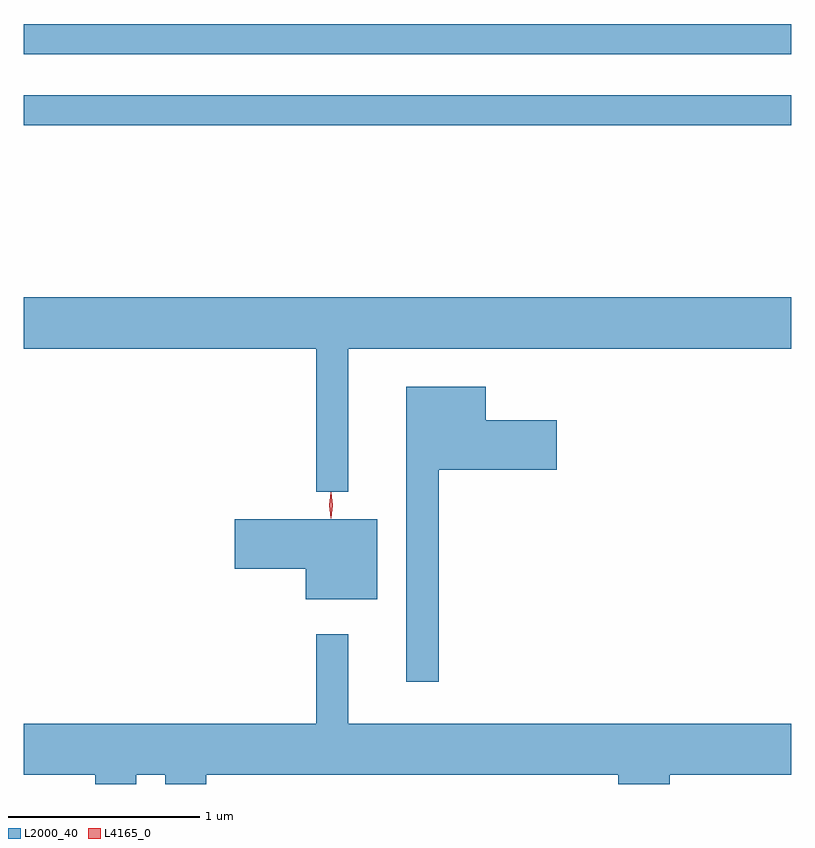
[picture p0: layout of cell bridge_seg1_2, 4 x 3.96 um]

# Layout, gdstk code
import gdstk
lib = gdstk.Library(unit=1e-6, precision=1e-09)
def R(c, l, rs):  # rectangles x0, y0, x1, y1
    for r in rs: c.add(gdstk.rectangle(r[:2], r[2:], *l))
def P(c, l, *ps):  # polygons
    for p in ps: c.add(gdstk.Polygon(p, *l))
L2000_40 = (2000, 40)
L4165_0 = (4165, 0)

bridge_seg1_2 = lib.new_cell('bridge_seg1_2')
R(bridge_seg1_2, L2000_40, [(1629.077,849.681,1633.077,849.839), (1629.077,850.051,1633.077,850.209)])
P(bridge_seg1_2, L2000_40, [(1630.769,848.516),(1633.077,848.516),(1633.077,848.784),(1629.077,848.784),(1629.077,848.516),(1630.601,848.516),(1630.601,847.773),(1630.769,847.773)],
  [(1631.239,847.886),(1631.854,847.886),(1631.854,848.144),(1631.484,848.144),(1631.484,848.319),(1631.071,848.319),(1631.071,846.783),(1631.239,846.783)],
  [(1630.919,847.629),(1630.176,847.629),(1630.176,847.371),(1630.546,847.371),(1630.546,847.211),(1630.919,847.211)],
  [(1629.664,846.296),(1629.816,846.296),(1629.816,846.249),(1630.029,846.249),(1630.029,846.296),(1632.176,846.296),(1632.176,846.249),(1632.444,846.249),(1632.444,846.296),(1633.077,846.296),(1633.077,846.564),(1630.769,846.564),(1630.769,847.028),(1630.601,847.028),(1630.601,846.564),(1629.077,846.564),(1629.077,846.296),(1629.451,846.296),(1629.451,846.249),(1629.664,846.249)])
P(bridge_seg1_2, L4165_0, [(1630.678,847.634),(1630.678,847.634),(1630.668,847.702),(1630.678,847.77),(1630.678,847.77),(1630.679,847.77),(1630.688,847.702),(1630.679,847.634)],
  [(1630.678,847.64),(1630.678,847.64),(1630.668,847.703),(1630.678,847.766),(1630.678,847.767),(1630.679,847.766),(1630.688,847.703),(1630.679,847.64)])

lib.write_gds('bridge_seg1_2.gds')
